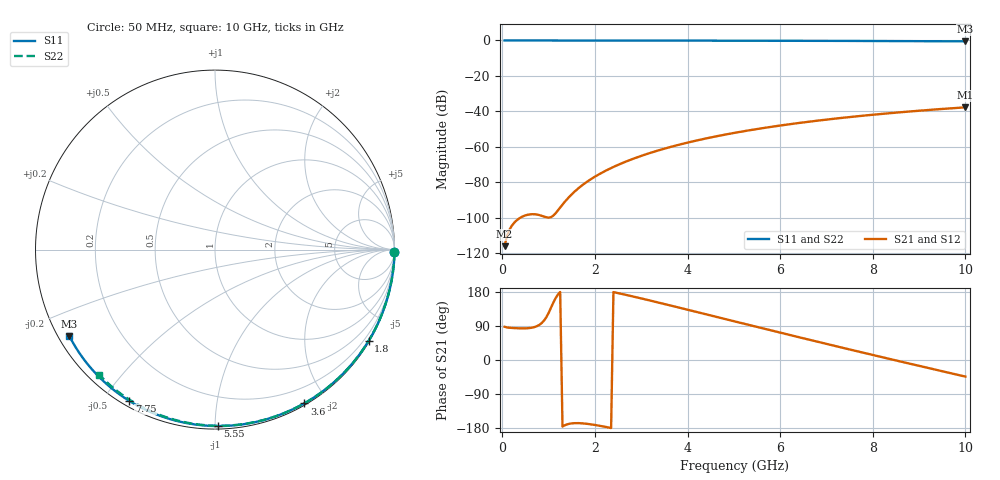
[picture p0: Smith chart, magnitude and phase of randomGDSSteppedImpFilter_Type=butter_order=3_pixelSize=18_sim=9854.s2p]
! freq	dB(S11)	phase(S11)	dB(S12)	phase(S12)
!  dB(S21)	phase(S21)	dB(S22)	phase(S22)
!S-par simulation data
#  GHz  S  DB  R 50
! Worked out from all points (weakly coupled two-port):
!   200 points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, 50 MHz to 10 GHz, reference 50 ohm
!   highest |S21| = -37.72 dB at 10 GHz (marker M1); lowest = -116.0 dB at 50 MHz (marker M2)
!   lowest |S11| = -0.5 dB at 10 GHz (marker M3), VSWR 34.56, Z = 1.56 - j13.7 ohm
!   |S11| at or under -10 dB: nowhere
!   |S22| runs from -0.4 to 0.0 dB; largest |S21 - S12| = 0
!   S11 on the Smith chart (normalised r, x): 50 MHz: open; 1.8 GHz: 0.03, -3.64; 3.6 GHz: 0.02, -1.74; 5.55 GHz: 0.02, -1.02; 7.75 GHz: 0.02, -0.58; 10 GHz: 0.03, -0.27
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0.05  -0.00 -0.9  -116.03 87.6  -116.03 87.6  -0.00 -0.8
0.45  -0.01 -7.8  -99.15 83.4  -99.15 83.4  -0.01 -6.9
0.9  -0.02 -15.5  -99.32 103.9  -99.32 103.9  -0.02 -13.7
1.3  -0.03 -22.3  -92.58 -175.6  -92.58 -175.6  -0.02 -19.8
1.75  -0.04 -29.9  -81.18 -167.4  -81.18 -167.4  -0.03 -26.5
1.8  -0.04 -30.7  -80.23 -168.0  -80.23 -168.0  -0.03 -27.2
2.15  -0.05 -36.5  -74.60 -174.6  -74.60 -174.6  -0.04 -32.4
2.5  -0.05 -42.3  -70.17 176.5  -70.17 176.5  -0.05 -37.5
2.9  -0.06 -48.8  -66.02 165.4  -66.02 165.4  -0.06 -43.3
3.4  -0.07 -56.7  -61.77 150.8  -61.77 150.8  -0.07 -50.4
3.6  -0.08 -59.9  -60.29 144.8  -60.29 144.8  -0.07 -53.2
3.9  -0.09 -64.5  -58.25 135.8  -58.25 135.8  -0.08 -57.4
4.3  -0.10 -70.7  -55.82 123.6  -55.82 123.6  -0.09 -62.8
5.05  -0.13 -81.9  -51.95 100.9  -51.95 100.9  -0.11 -72.9
5.55  -0.15 -89.1  -49.75 85.8  -49.75 85.8  -0.13 -79.4
6.1  -0.17 -96.9  -47.62 69.3  -47.62 69.3  -0.15 -86.4
6.7  -0.20 -105.3  -45.57 51.4  -45.57 51.4  -0.18 -93.9
7.2  -0.24 -112.1  -44.05 36.6  -44.05 36.6  -0.21 -100.0
7.75  -0.28 -119.5  -42.54 20.5  -42.54 20.5  -0.24 -106.6
8.35  -0.33 -127.5  -41.06 3.2  -41.06 3.2  -0.29 -113.7
9.2  -0.41 -138.7  -39.21 -21.2  -39.21 -21.2  -0.36 -123.5
10  -0.50 -149.3  -37.72 -43.8  -37.72 -43.8  -0.45 -132.7
